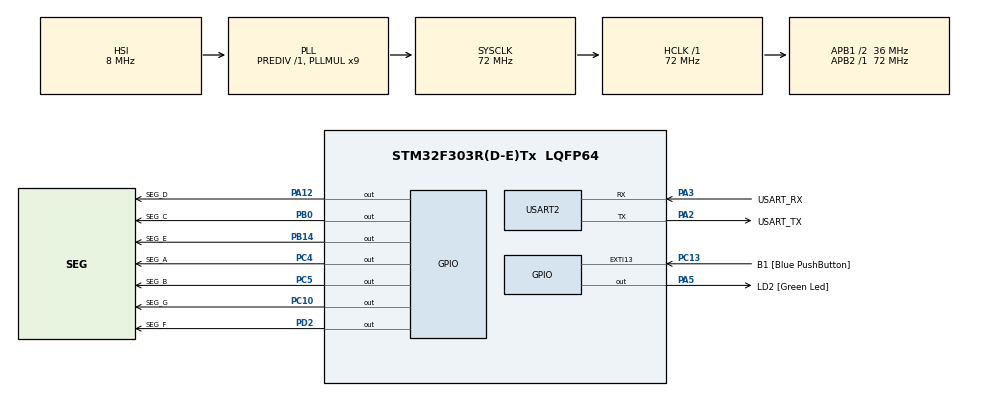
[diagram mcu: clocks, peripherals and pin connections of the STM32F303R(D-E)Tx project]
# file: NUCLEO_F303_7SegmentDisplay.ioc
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Mcu.Family=STM32F3
Mcu.Name=STM32F303R(D-E)Tx
Mcu.Package=LQFP64
NVIC.PriorityGroup=NVIC_PRIORITYGROUP_0
PA12.GPIO_Label=SEG_D
PA12.Signal=GPIO_Output
PA13.GPIO_Label=TMS
PA13.Mode=Serial_Wire
PA13.Signal=SYS_JTMS-SWDIO
PA14.GPIO_Label=TCK
PA14.Mode=Serial_Wire
PA14.Signal=SYS_JTCK-SWCLK
PA2.GPIO_Label=USART_TX
PA2.GPIO_Mode=GPIO_MODE_AF_PP
PA2.GPIO_PuPd=GPIO_NOPULL
PA2.GPIO_Speed=GPIO_SPEED_FREQ_LOW
PA2.Mode=Asynchronous
PA2.Signal=USART2_TX
PA3.GPIO_Label=USART_RX
PA3.GPIO_Mode=GPIO_MODE_AF_PP
PA3.GPIO_PuPd=GPIO_NOPULL
PA3.GPIO_Speed=GPIO_SPEED_FREQ_LOW
PA3.Mode=Asynchronous
PA3.Signal=USART2_RX
PA5.GPIO_Label=LD2 [Green Led]
PA5.GPIO_Mode=GPIO_MODE_OUTPUT_PP
PA5.GPIO_PuPd=GPIO_NOPULL
PA5.GPIO_Speed=GPIO_SPEED_FREQ_LOW
PA5.Signal=GPIO_Output
PB0.GPIO_Label=SEG_C
PB0.Signal=GPIO_Output
PB14.GPIO_Label=SEG_E
PB14.Signal=GPIO_Output
PB3.GPIO_Label=SWO
PB3.Signal=SYS_JTDO-TRACESWO
PC10.GPIO_Label=SEG_G
PC10.Signal=GPIO_Output
PC13.GPIO_Label=B1 [Blue PushButton]
PC13.GPIO_ModeDefaultEXTI=GPIO_MODE_IT_FALLING
PC13.Signal=GPXTI13
PC14-OSC32_IN.Mode=LSE-External-Oscillator
PC14-OSC32_IN.Signal=RCC_OSC32_IN
PC15-OSC32_OUT.Mode=LSE-External-Oscillator
PC15-OSC32_OUT.Signal=RCC_OSC32_OUT
PC4.GPIO_Label=SEG_A
PC4.Signal=GPIO_Output
PC5.GPIO_Label=SEG_B
PC5.Signal=GPIO_Output
PD2.GPIO_Label=SEG_F
PD2.Signal=GPIO_Output
PF0-OSC_IN.Mode=HSE-External-Clock-Source
PF0-OSC_IN.Signal=RCC_OSC_IN
PF1-OSC_OUT.Signal=RCC_OSC_OUT
ProjectManager.HeapSize=0x200
ProjectManager.StackSize=0x400
ProjectManager.TargetToolchain=CMake
RCC.AHBFreq_Value=72000000
RCC.APB1CLKDivider=RCC_HCLK_DIV2
RCC.APB1Freq_Value=36000000
RCC.APB1TimFreq_Value=72000000
RCC.APB2Freq_Value=72000000
RCC.APB2TimFreq_Value=72000000
RCC.CortexFreq_Value=72000000
RCC.HCLKFreq_Value=72000000
RCC.HSE_VALUE=8000000
RCC.HSI_VALUE=8000000
RCC.PLLM=8
RCC.PLLMUL=RCC_PLL_MUL9
RCC.PLLN=336
RCC.PLLP=RCC_PLLP_DIV4
RCC.PLLQ=7
RCC.RCC_PLLsource_Clock_Source_FROM_HSE=RCC_HSE_PREDIV_DIV2
RCC.SYSCLKFreq_VALUE=72000000
RCC.SYSCLKSourceVirtual=RCC_SYSCLKSOURCE_PLLCLK
RCC.USBFreq_Value=72000000
USART2.VirtualMode-Asynchronous=VM_ASYNC
board=NUCLEO-F303RE

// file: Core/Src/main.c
/* USER CODE BEGIN Header */
/**
  ******************************************************************************
  * @file           : main.c
  * @brief          : Main program body
  ******************************************************************************
  * @attention
  *
  * Copyright (c) 2026 STMicroelectronics.
  * All rights reserved.
  *
  * This software is licensed under terms that can be found in the LICENSE file
  * in the root directory of this software component.
  * If no LICENSE file comes with this software, it is provided AS-IS.
  *
  ******************************************************************************
  */
/* USER CODE END Header */
#include "main.h"
#include "stm32f3xx_hal.h"
#include "stm32f3xx_hal_gpio.h"

/* USER CODE BEGIN PTD */
typedef struct
{
    GPIO_TypeDef *Port;
    uint16_t Pin;
} GPIO_PortMap_HandleTypeDef;
/* USER CODE END PTD */

/* USER CODE BEGIN PD */
#define SEGMENTS_SIZE   7   // There are 7 segments in a display
#define DIGITS_SIZE     10  // Digits from 0 to 9
/* USER CODE END PD */

UART_HandleTypeDef huart2;

/* USER CODE BEGIN PV */
const GPIO_PortMap_HandleTypeDef segmentsArray[SEGMENTS_SIZE] = {
    {SEG_A_GPIO_Port, SEG_A_Pin},
    {SEG_B_GPIO_Port, SEG_B_Pin},
    {SEG_C_GPIO_Port, SEG_C_Pin},
    {SEG_D_GPIO_Port, SEG_D_Pin},
    {SEG_E_GPIO_Port, SEG_E_Pin},
    {SEG_F_GPIO_Port, SEG_F_Pin},
    {SEG_G_GPIO_Port, SEG_G_Pin}
};

const uint8_t digitsArray[DIGITS_SIZE] = {0x3F, 0x06, 0x5B, 0x4F, 0x66, 0x6D, 0x7D, 0x07, 0x7F, 0x6F};
const uint16_t period = 1000;
static uint32_t lastTick = 0;
/* USER CODE END PV */

void SystemClock_Config(void);
static void MX_GPIO_Init(void);
static void MX_USART2_UART_Init(void);
/* USER CODE BEGIN PFP */
void Task_Display(void);
/* USER CODE END PFP */

int main(void)
{

  /* MCU Configuration--------------------------------------------------------*/

  /* Reset of all peripherals, Initializes the Flash interface and the Systick. */
  HAL_Init();

  /* Configure the system clock */
  SystemClock_Config();

  /* Initialize all configured peripherals */
  MX_GPIO_Init();
  MX_USART2_UART_Init();
  /* USER CODE BEGIN 2 */
  // Initialize all output pins to 0
  for (uint8_t i = 0; i < SEGMENTS_SIZE; i++)
  {
    HAL_GPIO_WritePin(segmentsArray[i].Port, segmentsArray[i].Pin, GPIO_PIN_RESET);
  }
  /* USER CODE END 2 */

  /* Infinite loop */
  /* USER CODE BEGIN WHILE */
  while (1)
  {
    uint32_t currentTick = HAL_GetTick();

    if ((currentTick - lastTick) >= period)
    {
        lastTick = currentTick;
        Task_Display();
    }
    /* USER CODE END WHILE */

  }
}

void SystemClock_Config(void)
{
  RCC_OscInitTypeDef RCC_OscInitStruct = {0};
  RCC_ClkInitTypeDef RCC_ClkInitStruct = {0};
  RCC_PeriphCLKInitTypeDef PeriphClkInit = {0};

  /** Initializes the RCC Oscillators according to the specified parameters
  * in the RCC_OscInitTypeDef structure.
  */
  RCC_OscInitStruct.OscillatorType = RCC_OSCILLATORTYPE_HSI;
  RCC_OscInitStruct.HSIState = RCC_HSI_ON;
  RCC_OscInitStruct.HSICalibrationValue = RCC_HSICALIBRATION_DEFAULT;
  RCC_OscInitStruct.PLL.PLLState = RCC_PLL_ON;
  RCC_OscInitStruct.PLL.PLLSource = RCC_PLLSOURCE_HSI;
  RCC_OscInitStruct.PLL.PLLMUL = RCC_PLL_MUL9;
  RCC_OscInitStruct.PLL.PREDIV = RCC_PREDIV_DIV1;
  if (HAL_RCC_OscConfig(&RCC_OscInitStruct) != HAL_OK)
  {
    Error_Handler();
  }

  /** Initializes the CPU, AHB and APB buses clocks
  */
  RCC_ClkInitStruct.ClockType = RCC_CLOCKTYPE_HCLK|RCC_CLOCKTYPE_SYSCLK
                              |RCC_CLOCKTYPE_PCLK1|RCC_CLOCKTYPE_PCLK2;
  RCC_ClkInitStruct.SYSCLKSource = RCC_SYSCLKSOURCE_PLLCLK;
  RCC_ClkInitStruct.AHBCLKDivider = RCC_SYSCLK_DIV1;
  RCC_ClkInitStruct.APB1CLKDivider = RCC_HCLK_DIV2;
  RCC_ClkInitStruct.APB2CLKDivider = RCC_HCLK_DIV1;

  if (HAL_RCC_ClockConfig(&RCC_ClkInitStruct, FLASH_LATENCY_2) != HAL_OK)
  {
    Error_Handler();
  }
  PeriphClkInit.PeriphClockSelection = RCC_PERIPHCLK_USART2;
  PeriphClkInit.Usart2ClockSelection = RCC_USART2CLKSOURCE_PCLK1;
  if (HAL_RCCEx_PeriphCLKConfig(&PeriphClkInit) != HAL_OK)
  {
    Error_Handler();
  }
}

static void MX_USART2_UART_Init(void)
{

  huart2.Instance = USART2;
  huart2.Init.BaudRate = 38400;
  huart2.Init.WordLength = UART_WORDLENGTH_8B;
  huart2.Init.StopBits = UART_STOPBITS_1;
  huart2.Init.Parity = UART_PARITY_NONE;
  huart2.Init.Mode = UART_MODE_TX_RX;
  huart2.Init.HwFlowCtl = UART_HWCONTROL_NONE;
  huart2.Init.OverSampling = UART_OVERSAMPLING_16;
  huart2.Init.OneBitSampling = UART_ONE_BIT_SAMPLE_DISABLE;
  huart2.AdvancedInit.AdvFeatureInit = UART_ADVFEATURE_NO_INIT;
  if (HAL_UART_Init(&huart2) != HAL_OK)
  {
    Error_Handler();
  }

}

static void MX_GPIO_Init(void)
{
  GPIO_InitTypeDef GPIO_InitStruct = {0};

  /* GPIO Ports Clock Enable */
  __HAL_RCC_GPIOC_CLK_ENABLE();
  __HAL_RCC_GPIOF_CLK_ENABLE();
  __HAL_RCC_GPIOA_CLK_ENABLE();
  __HAL_RCC_GPIOB_CLK_ENABLE();
  __HAL_RCC_GPIOD_CLK_ENABLE();

  /*Configure GPIO pin Output Level */
  HAL_GPIO_WritePin(GPIOA, LD2_Pin|SEG_D_Pin, GPIO_PIN_RESET);

  /*Configure GPIO pin Output Level */
  HAL_GPIO_WritePin(GPIOC, SEG_A_Pin|SEG_B_Pin|SEG_G_Pin, GPIO_PIN_RESET);

  /*Configure GPIO pin Output Level */
  HAL_GPIO_WritePin(GPIOB, SEG_C_Pin|SEG_E_Pin, GPIO_PIN_RESET);

  /*Configure GPIO pin Output Level */
  HAL_GPIO_WritePin(SEG_F_GPIO_Port, SEG_F_Pin, GPIO_PIN_RESET);

  /*Configure GPIO pin : B1_Pin */
  GPIO_InitStruct.Pin = B1_Pin;
  GPIO_InitStruct.Mode = GPIO_MODE_IT_FALLING;
  GPIO_InitStruct.Pull = GPIO_NOPULL;
  HAL_GPIO_Init(B1_GPIO_Port, &GPIO_InitStruct);

  /*Configure GPIO pins : LD2_Pin SEG_D_Pin */
  GPIO_InitStruct.Pin = LD2_Pin|SEG_D_Pin;
  GPIO_InitStruct.Mode = GPIO_MODE_OUTPUT_PP;
  GPIO_InitStruct.Pull = GPIO_NOPULL;
  GPIO_InitStruct.Speed = GPIO_SPEED_FREQ_LOW;
  HAL_GPIO_Init(GPIOA, &GPIO_InitStruct);

  /*Configure GPIO pins : SEG_A_Pin SEG_B_Pin SEG_G_Pin */
  GPIO_InitStruct.Pin = SEG_A_Pin|SEG_B_Pin|SEG_G_Pin;
  GPIO_InitStruct.Mode = GPIO_MODE_OUTPUT_PP;
  GPIO_InitStruct.Pull = GPIO_NOPULL;
  GPIO_InitStruct.Speed = GPIO_SPEED_FREQ_LOW;
  HAL_GPIO_Init(GPIOC, &GPIO_InitStruct);

  /*Configure GPIO pins : SEG_C_Pin SEG_E_Pin */
  GPIO_InitStruct.Pin = SEG_C_Pin|SEG_E_Pin;
  GPIO_InitStruct.Mode = GPIO_MODE_OUTPUT_PP;
  GPIO_InitStruct.Pull = GPIO_NOPULL;
  GPIO_InitStruct.Speed = GPIO_SPEED_FREQ_LOW;
  HAL_GPIO_Init(GPIOB, &GPIO_InitStruct);

  /*Configure GPIO pin : SEG_F_Pin */
  GPIO_InitStruct.Pin = SEG_F_Pin;
  GPIO_InitStruct.Mode = GPIO_MODE_OUTPUT_PP;
  GPIO_InitStruct.Pull = GPIO_NOPULL;
  GPIO_InitStruct.Speed = GPIO_SPEED_FREQ_LOW;
  HAL_GPIO_Init(SEG_F_GPIO_Port, &GPIO_InitStruct);

}

/* USER CODE BEGIN 4 */
void Task_Display(void)
{
    static uint8_t currentDigit = 0;

    uint8_t bytePattern = digitsArray[currentDigit];

    for (uint8_t i = 0; i < SEGMENTS_SIZE; i++)
    {
        GPIO_PinState state = (bytePattern & (1 << i)) ? GPIO_PIN_SET : GPIO_PIN_RESET;

        HAL_GPIO_WritePin(segmentsArray[i].Port, segmentsArray[i].Pin, state);
    }

    currentDigit++;

    if (currentDigit >= DIGITS_SIZE)
    {
        currentDigit = 0;
    }
}
/* USER CODE END 4 */

void Error_Handler(void)
{
  __disable_irq();
  while (1)
  {
  }
}
